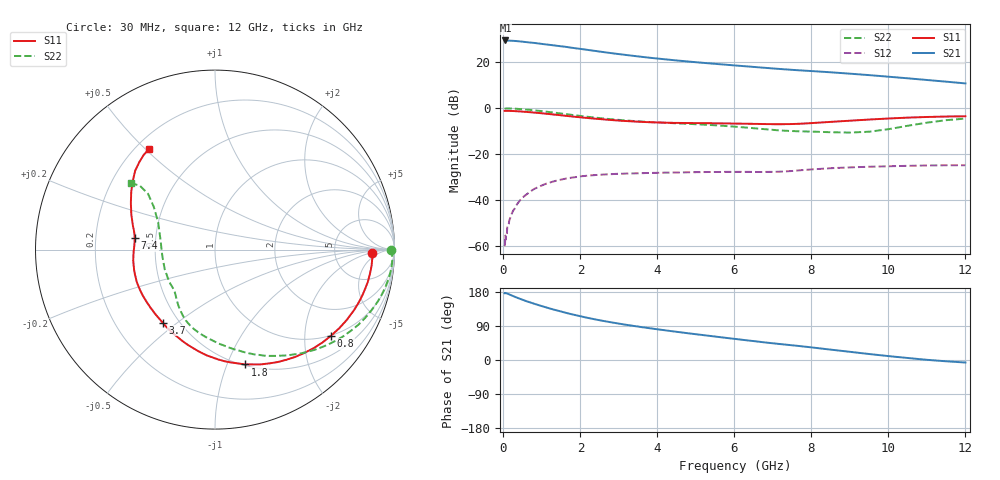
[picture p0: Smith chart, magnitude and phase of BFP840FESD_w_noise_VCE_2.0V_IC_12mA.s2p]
! Infineon Technologies  Discrete & RF Semiconductors
! BFP840FESD
! VCE =  2.0 V,  IC =  12 mA
! Common Emitter S-Parameters:  May 2012
# GHz  S  MA  R  50
!  f  S11  S21  S12  S22
! GHz  MAG  ANG  MAG  ANG  MAG  ANG  MAG  ANG
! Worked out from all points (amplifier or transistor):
!   103 points, 30 MHz to 12 GHz, reference 50 ohm
!   highest |S21| = 29.5 dB at 50 MHz (marker M1)
!   |S21| within 3 dB of that: start of sweep to 1.703 GHz
!   unconditionally stable (mu >= 1): 6.33 GHz to end of sweep
!   at 400 MHz: K = 0.12, MSG = 34.9 dB, |S12| = -40.7 dB
!   at 3.7 GHz: K = 0.58, MSG = 25.2 dB, |S12| = -28.2 dB
!   at 12 GHz: K = 1.13, MAG = 15.6 dB, |S12| = -24.8 dB
!   lowest NFmin = 0.70 dB at 450 MHz
!   S11 on the Smith chart (normalised r, x): 30 MHz: 15, -3; 800 MHz: 0.99, -2.69; 1.8 GHz: 0.51, -1.16; 3.7 GHz: 0.41, -0.44; 7.4 GHz: 0.38, +0.06; 12 GHz: 0.25, +0.51
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0.03  0.8777 -1.3  29.82 176.1  0.001 87.1  0.9785 -0.1
0.04  0.8787 -1.9  29.79 175.8  0.0011 58.6  0.9828 -0.6
0.05  0.8754 -2.4  29.83 177.0  0.0017 43.4  0.9862 -1.1
0.25  0.8699 -12.1  29.29 168.8  0.0059 79.5  0.9819 -9.0
0.4  0.8556 -19.1  28.59 162.6  0.0092 77.1  0.9647 -14.4
0.6  0.8322 -28.1  27.44 155.1  0.0134 72.0  0.9356 -21.1
0.8  0.8048 -36.7  26.36 148.4  0.0176 67.5  0.9022 -27.6
1  0.7769 -45.0  25.06 142.1  0.021 62.5  0.8648 -33.7
1.3  0.7316 -57.0  23.36 133.2  0.0256 56.2  0.8069 -42.3
1.6  0.6877 -68.5  21.79 125.1  0.0293 50.6  0.7499 -50.5
1.8  0.6609 -75.4  20.57 120.1  0.0312 47.2  0.7136 -55.7
2.1  0.6235 -85.3  19.04 113.1  0.0336 42.5  0.6653 -62.9
2.4  0.5921 -94.2  17.57 106.8  0.0353 38.6  0.6238 -69.4
2.8  0.5547 -105.0  15.83 99.4  0.0368 34.9  0.5764 -77.0
3.7  0.5006 -125.7  12.84 85.2  0.039 29.2  0.5079 -91.2
4.1  0.4884 -133.8  11.83 79.7  0.0396 27.6  0.4878 -96.6
5  0.4752 -150.1  10.04 68.0  0.0407 25.4  0.4489 -107.1
6.1  0.4628 -167.4  8.424 54.6  0.0413 24.4  0.3923 -119.3
7.4  0.452 171.9  6.935 39.9  0.0427 29.2  0.322 -135.2
8.5  0.5054 157.3  6.056 27.4  0.0496 29.0  0.301 -158.5
10.5  0.6255 135.3  4.482 5.3  0.0559 24.2  0.4158 145.1
12  0.6693 123.5  3.47 -6.7  0.0576 23.0  0.5958 141.7
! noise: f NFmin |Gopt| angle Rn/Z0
0.45  0.7  0.26  5  0.14
0.9  0.73  0.26  11  0.14
1.5  0.75  0.24  16  0.14
1.9  0.75  0.22  26  0.14
2.4  0.76  0.2  35  0.14
3.5  0.77  0.19  59  0.14
5.5  0.82  0.12  111  0.12
8  0.93  0.12  175  0.12
10  1.06  0.24  -129  0.13
12  1.27  0.41  -111  0.15
